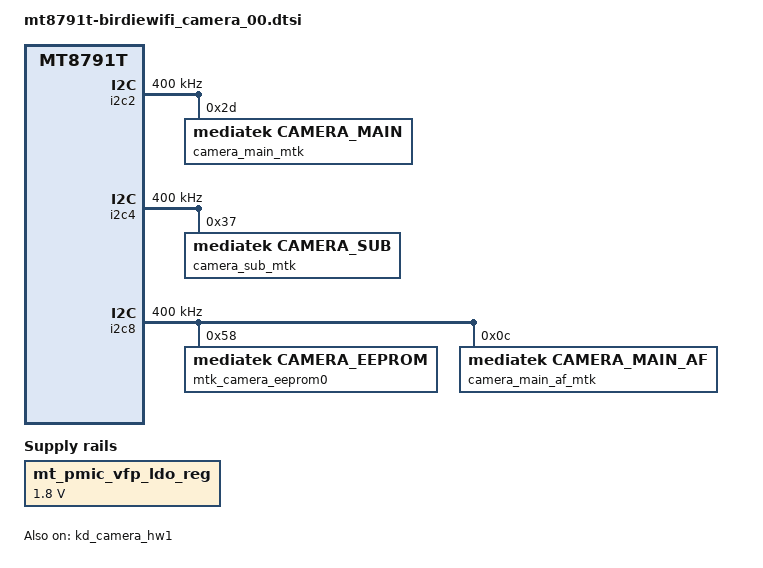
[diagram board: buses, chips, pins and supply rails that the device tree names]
// SPDX-License-Identifier: GPL-2.0
/*
 * Copyright (c) 2022 Samsung Electronics Inc.
 */

/********  Birdiewifi Board  ***********
 *    SW          :   HW   : Sensor
 * camera0(Rear)  : RCAM1  : IMX355
 * camera1(Front) : FCAM   : GC5035
 ***********************************/

/* CAMERA GPIO standardization */
&pio {
	/****************  Camera0  ***************/
	// MCLK
	camera0_mclk_2mA: camera0_mclk_2mA@gpio149 {
		pins_cmd_dat {
			pinmux = <PINMUX_GPIO149__FUNC_CMMCLK0>;
			drive-strength = <0>;
		};
	};
	camera0_mclk_4mA: camera0_mclk_4mA@gpio149 {
		pins_cmd_dat {
			pinmux = <PINMUX_GPIO149__FUNC_CMMCLK0>;
			drive-strength = <1>;
		};
	};
	camera0_mclk_6mA: camera0_mclk_6mA@gpio149 {
		pins_cmd_dat {
			pinmux = <PINMUX_GPIO149__FUNC_CMMCLK0>;
			drive-strength = <2>;
		};
	};
	camera0_mclk_8mA: camera0_mclk_8mA@gpio149 {
		pins_cmd_dat {
			pinmux = <PINMUX_GPIO149__FUNC_CMMCLK0>;
			drive-strength = <3>;
		};
	};
	camera0_mclk_off: camera0_mclk_gpio_mode@gpio149 {
		pins_cmd_dat {
			pinmux = <PINMUX_GPIO149__FUNC_GPIO149>;
			drive-strength = <1>;
		};
	};

	// Reset
	camera0_rst_low: camera0_rst_output_low@gpio155 {
		pins_cmd_dat {
			pinmux = <PINMUX_GPIO155__FUNC_GPIO155>;
			slew-rate = <1>;
			output-low;
		};
	};
	camera0_rst_high: camera0_rst_output_high@gpio155 {
		pins_cmd_dat {
			pinmux = <PINMUX_GPIO155__FUNC_GPIO155>;
			slew-rate = <1>;
			output-high;
		};
	};

	// AVDD
	camera0_vcama_off: camera0_vcama_output_low@gpio159 {
		pins_cmd_dat {
			pinmux = <PINMUX_GPIO159__FUNC_GPIO159>;
			slew-rate = <1>;
			output-low;
		};
	};
	camera0_vcama_on: camera0_vcama_output_high@gpio159 {
		pins_cmd_dat {
			pinmux = <PINMUX_GPIO159__FUNC_GPIO159>;
			slew-rate = <1>;
			output-high;
		};
	};

	// DVDD
	camera0_vcamd_off: camera0_vcamd_output_low@gpio162 {
		pins_cmd_dat {
			pinmux = <PINMUX_GPIO162__FUNC_GPIO162>;
			slew-rate = <1>;
			output-low;
		};
	};
	camera0_vcamd_on: camera0_vcamd_output_high@gpio162 {
		pins_cmd_dat {
			pinmux = <PINMUX_GPIO162__FUNC_GPIO162>;
			slew-rate = <1>;
			output-high;
		};
	};

	// I2C
	// camera_main_i2c_scl_off: camera_main_i2c_scl_off@gpio101 {
	// 	pins_cmd_dat {
	// 		pinmux = <PINMUX_GPIO101__FUNC_GPIO101>;
	// 		bias-disable;
	// 	};
	// };
	// camera_main_i2c_scl_on: camera_main_i2c_scl_on@gpio101 {
	// 	pins_cmd_dat {
	// 		pinmux = <PINMUX_GPIO101__FUNC_SCL2>;
	// 		bias-disable;
	// 	};
	// };

	// camera_main_i2c_sda_off: camera_main_i2c_sda_off@gpio102 {
	// 	pins_cmd_dat {
	// 		pinmux = <PINMUX_GPIO102__FUNC_GPIO102>;
	// 		bias-disable;
	// 	};
	// };
	// camera_main_i2c_sda_on: camera_main_i2c_sda_on@gpio102 {
	// 	pins_cmd_dat {
	// 		pinmux = <PINMUX_GPIO102__FUNC_SDA2>;
	// 		bias-disable;
	// 	};
	// };

	/****************  Camera1  ***************/
	// MCLK
	camera1_mclk_2mA: camera1_mclk_2mA@gpio153 {
		pins_cmd_dat {
			pinmux = <PINMUX_GPIO153__FUNC_CMMCLK4>;
			drive-strength = <0>;
		};
	};
	camera1_mclk_4mA: camera1_mclk_4mA@gpio153 {
		pins_cmd_dat {
			pinmux = <PINMUX_GPIO153__FUNC_CMMCLK4>;
			drive-strength = <1>;
		};
	};
	camera1_mclk_6mA: camera1_mclk_6mA@gpio153 {
		pins_cmd_dat {
			pinmux = <PINMUX_GPIO153__FUNC_CMMCLK4>;
			drive-strength = <2>;
		};
	};
	camera1_mclk_8mA: camera1_mclk_8mA@gpio153 {
		pins_cmd_dat {
			pinmux = <PINMUX_GPIO153__FUNC_CMMCLK4>;
			drive-strength = <3>;
		};
	};
	camera1_mclk_off: camera1_mclk_gpio_mode@gpio153 {
		pins_cmd_dat {
			pinmux = <PINMUX_GPIO153__FUNC_GPIO153>;
			drive-strength = <1>;
		};
	};

	// Reset
	camera1_rst_low: camera1_rst_output_low@gpio154 {
		pins_cmd_dat {
			pinmux = <PINMUX_GPIO154__FUNC_GPIO154>;
			output-low;
		};
	};
	camera1_rst_high: camera1_rst_output_high@gpio154 {
		pins_cmd_dat {
			pinmux = <PINMUX_GPIO154__FUNC_GPIO154>;
			output-high;
		};
	};

	// AVDD
	camera1_vcama_off: camera1_vcama_output_low@gpio161 {
		pins_cmd_dat {
			pinmux = <PINMUX_GPIO161__FUNC_GPIO161>;
			slew-rate = <1>;
			output-low;
		};
	};
	camera1_vcama_on: camera1_vcama_output_high@gpio161 {
		pins_cmd_dat {
			pinmux = <PINMUX_GPIO161__FUNC_GPIO161>;
			slew-rate = <1>;
			output-high;
		};
	};

	// DVDD
	camera1_vcamd_off: camera1_vcamd_output_low@gpio158 {
		pins_cmd_dat {
			pinmux = <PINMUX_GPIO158__FUNC_GPIO158>;
			slew-rate = <1>;
			output-low;
		};
	};
	camera1_vcamd_on: camera1_vcamd_output_high@gpio158 {
		pins_cmd_dat {
			pinmux = <PINMUX_GPIO158__FUNC_GPIO158>;
			slew-rate = <1>;
			output-high;
		};
	};

	// I2C
	// camera_sub_i2c_scl_off: camera_sub_i2c_scl_off@gpio105 {
	// 	pins_cmd_dat {
	// 		pinmux = <PINMUX_GPIO105__FUNC_GPIO105>;
	// 		bias-disable;
	// 	};
	// };
	// camera_sub_i2c_scl_on: camera_sub_i2c_scl_on@gpio105 {
	// 	pins_cmd_dat {
	// 		pinmux = <PINMUX_GPIO105__FUNC_SCL4>;
	// 		bias-disable;
	// 	};
	// };

	// camera_sub_i2c_sda_off: camera_sub_i2c_sda_off@gpio106 {
	// 	pins_cmd_dat {
	// 		pinmux = <PINMUX_GPIO106__FUNC_GPIO106>;
	// 		bias-disable;
	// 	};
	// };
	// camera_sub_i2c_sda_on: camera_sub_i2c_sda_on@gpio106 {
	// 	pins_cmd_dat {
	// 		pinmux = <PINMUX_GPIO106__FUNC_SDA4>;
	// 		bias-disable;
	// 	};
	// };

	/****************  Common   ***************/
	// IO
	camera_vcamio_off: camera_vcamio_output_low@gpio163 {
		pins_cmd_dat {
			pinmux = <PINMUX_GPIO163__FUNC_GPIO163>;
			output-low;
		};
	};
	camera_vcamio_on: camera_vcamio_output_high@gpio163 {
		pins_cmd_dat {
			pinmux = <PINMUX_GPIO163__FUNC_GPIO163>;
			output-high;
		};
	};
	/****************  default  ***************/
	camera_pins_default: camdefault {
	};
};

&kd_camera_hw1 {
	pinctrl-names = "default",
		"cam0_rst0", "cam0_rst1",
		"cam0_ldo_vcama_0", "cam0_ldo_vcama_1",
		"cam0_ldo_vcamd_0", "cam0_ldo_vcamd_1",
		"cam0_ldo_vcamio_0", "cam0_ldo_vcamio_1",
		"cam0_mclk_off",
		"cam0_mclk_2mA", "cam0_mclk_4mA",
		"cam0_mclk_6mA", "cam0_mclk_8mA",
		"cam1_rst0", "cam1_rst1",
		"cam1_ldo_vcama_0", "cam1_ldo_vcama_1",
		"cam1_ldo_vcamd_0", "cam1_ldo_vcamd_1",
		"cam1_ldo_vcamio_0", "cam1_ldo_vcamio_1",
		"cam1_mclk_off",
		"cam1_mclk_2mA", "cam1_mclk_4mA",
		"cam1_mclk_6mA", "cam1_mclk_8mA";

	pinctrl-0 = <&camera_pins_default>;
	pinctrl-1 = <&camera0_rst_low>;
	pinctrl-2 = <&camera0_rst_high>;
	pinctrl-3 = <&camera0_vcama_off>;
	pinctrl-4 = <&camera0_vcama_on>;
	pinctrl-5 = <&camera0_vcamd_off>;
	pinctrl-6 = <&camera0_vcamd_on>;
	pinctrl-7 = <&camera_vcamio_off>;
	pinctrl-8 = <&camera_vcamio_on>;
	pinctrl-9 = <&camera0_mclk_off>;
	pinctrl-10 = <&camera0_mclk_2mA>;
	pinctrl-11 = <&camera0_mclk_4mA>;
	pinctrl-12 = <&camera0_mclk_6mA>;
	pinctrl-13 = <&camera0_mclk_8mA>;
	pinctrl-14 = <&camera1_rst_low>;
	pinctrl-15 = <&camera1_rst_high>;
	pinctrl-16 = <&camera1_vcama_off>;
	pinctrl-17 = <&camera1_vcama_on>;
	pinctrl-18 = <&camera1_vcamd_off>;
	pinctrl-19 = <&camera1_vcamd_on>;
	pinctrl-20 = <&camera_vcamio_off>;
	pinctrl-21 = <&camera_vcamio_on>;
	pinctrl-22 = <&camera1_mclk_off>;
	pinctrl-23 = <&camera1_mclk_2mA>;
	pinctrl-24 = <&camera1_mclk_4mA>;
	pinctrl-25 = <&camera1_mclk_6mA>;
	pinctrl-26 = <&camera1_mclk_8mA>;

	/********* Regulator setting **************/
	// Camera0
	cam0_vcamaf-supply = <&mt_pmic_vfe28_ldo_reg>;
	cam0_vcamio-supply = <&mt_pmic_vfp_ldo_reg>;

	// camera1
	cam1_vcamio-supply = <&mt_pmic_vfp_ldo_reg>;

	status = "okay";
	vendor {
		rear_sensor_id = <120>;     /* SENSOR_NAME_S5KJN1 */
		front_sensor_id = <211>;    /* SENSOR_NAME_GC5035F */

		// use_dualcam_set_cal;
		use_module_check;
		//skip_cal_loading;
		//check_final_cam_module;
		check_sensor_vendor;
		max_supported_camera = <2>;
		supported_cameraId = <0 1>;
		/* REAR, FRONT, DUAL_REAR_PORTRAIT_WIDE(Bokeh), REAR_2, REAR_3, REAR_4(Macro) */

		max_camera_num = <2>;
		camera_info0 {             /* 0 : rear - IMX355 */
			isp = <0>;             /* 0 : INT , 1 : EXT , 2 : SOC */
			cal_memory = <2>;      /* 0 : N , 1 : FROM , 2 : EEPROM , 3 : OTP  */
			read_version = <0>;    /* 0 : SYSFS , 1 : CAMON */
			core_voltage = <0>;    /* 0 : N , 1 : Y  */
			upgrade = <0>;         /* 0 : N , 1 : SYSFS , 2 : CAMON */
			companion = <0>;       /* 0 : N , 1 : Y  */
			ois = <0>;             /* 0 : N , 1 : Y  */
			valid = <1>;           /* 0 : INVALID, 1 : VALID */
			dual_open = <0>;       /* 0 : SINGLE_OPEN , 1 : DUAL_OPEN */
			position = <0>;        /* 0 : Rear, 1:Front, 2:Rear2, 3:Front2, 4:Rear3, 6:Rear4 */
			//includes_sub = <4>;  /* include this for common eeprom. <_position_> - position of the sub camera */
			afcal_type = <20>;       /* output format - 1: Near, Middle..., Far , 20: Near, Far, Middle... */
			use_adaptive_mipi = <1>;  /* 0 : N, 1 : Y */
		};
		camera_info1 {             /* 1 : front - GC5035 */
			isp = <0>;             /* 0 : INT , 1 : EXT , 2 : SOC */
			cal_memory = <3>;      /* 0 : N , 1 : FROM , 2 : EEPROM , 3 : OTP  */
			read_version = <0>;    /* 0 : SYSFS , 1 : CAMON */
			core_voltage = <0>;    /* 0 : N , 1 : Y  */
			upgrade = <0>;         /* 0 : N , 1 : SYSFS , 2 : CAMON */
			companion = <0>;       /* 0 : N , 1 : Y  */
			ois = <0>;             /* 0 : N , 1 : Y  */
			valid = <1>;           /* 0 : INVALID, 1 : VALID */
			dual_open = <0>;       /* 0 : SINGLE_OPEN , 1 : DUAL_OPEN */
			position = <1>;        /* 0 : Rear, 1:Front, 2:Rear2, 3:Front2, 4:Rear3, 6:Rear4 */
			use_adaptive_mipi = <0>;  /* 0 : N, 1 : Y */
		};
	};
};
/* CAMERA GPIO end */

/* PMIC */
&mt_pmic_vfp_ldo_reg {
	regulator-min-microvolt = <1800000>;
	regulator-max-microvolt = <1800000>;
};

/*************************
*     Cmaera I2C
*************************/

&i2c2 {
	#address-cells = <1>;
	#size-cells = <0>;
	clock-frequency = <400000>;
	mediatek,use-open-drain;
	camera_main_mtk:camera_main@5A{
		compatible = "mediatek,camera_main";
		reg = <0x2D>;
		status = "okay";
	};
};

&i2c4 {
	#address-cells = <1>;
	#size-cells = <0>;
	clock-frequency = <400000>;
	mediatek,use-open-drain;
	camera_sub_mtk:camera_sub@6E {
		compatible = "mediatek,camera_sub";
		reg = <0x37>;
		status = "okay";
	};
};

&i2c8 {
	#address-cells = <1>;
	#size-cells = <0>;
	clock-frequency = <400000>;
	mediatek,use-open-drain;

	/* Rear camera eeprom */
	mtk_camera_eeprom0:camera_eeprom0@B0 {
		compatible = "mediatek,camera_eeprom";
		reg = <0x58>;
		status = "okay";
	};

	/* AF */
	camera_main_af_mtk:camera_main_af@18 {
		compatible = "mediatek,camera_main_af";
		reg = <0x0C>;
		status = "okay";
	};
};
